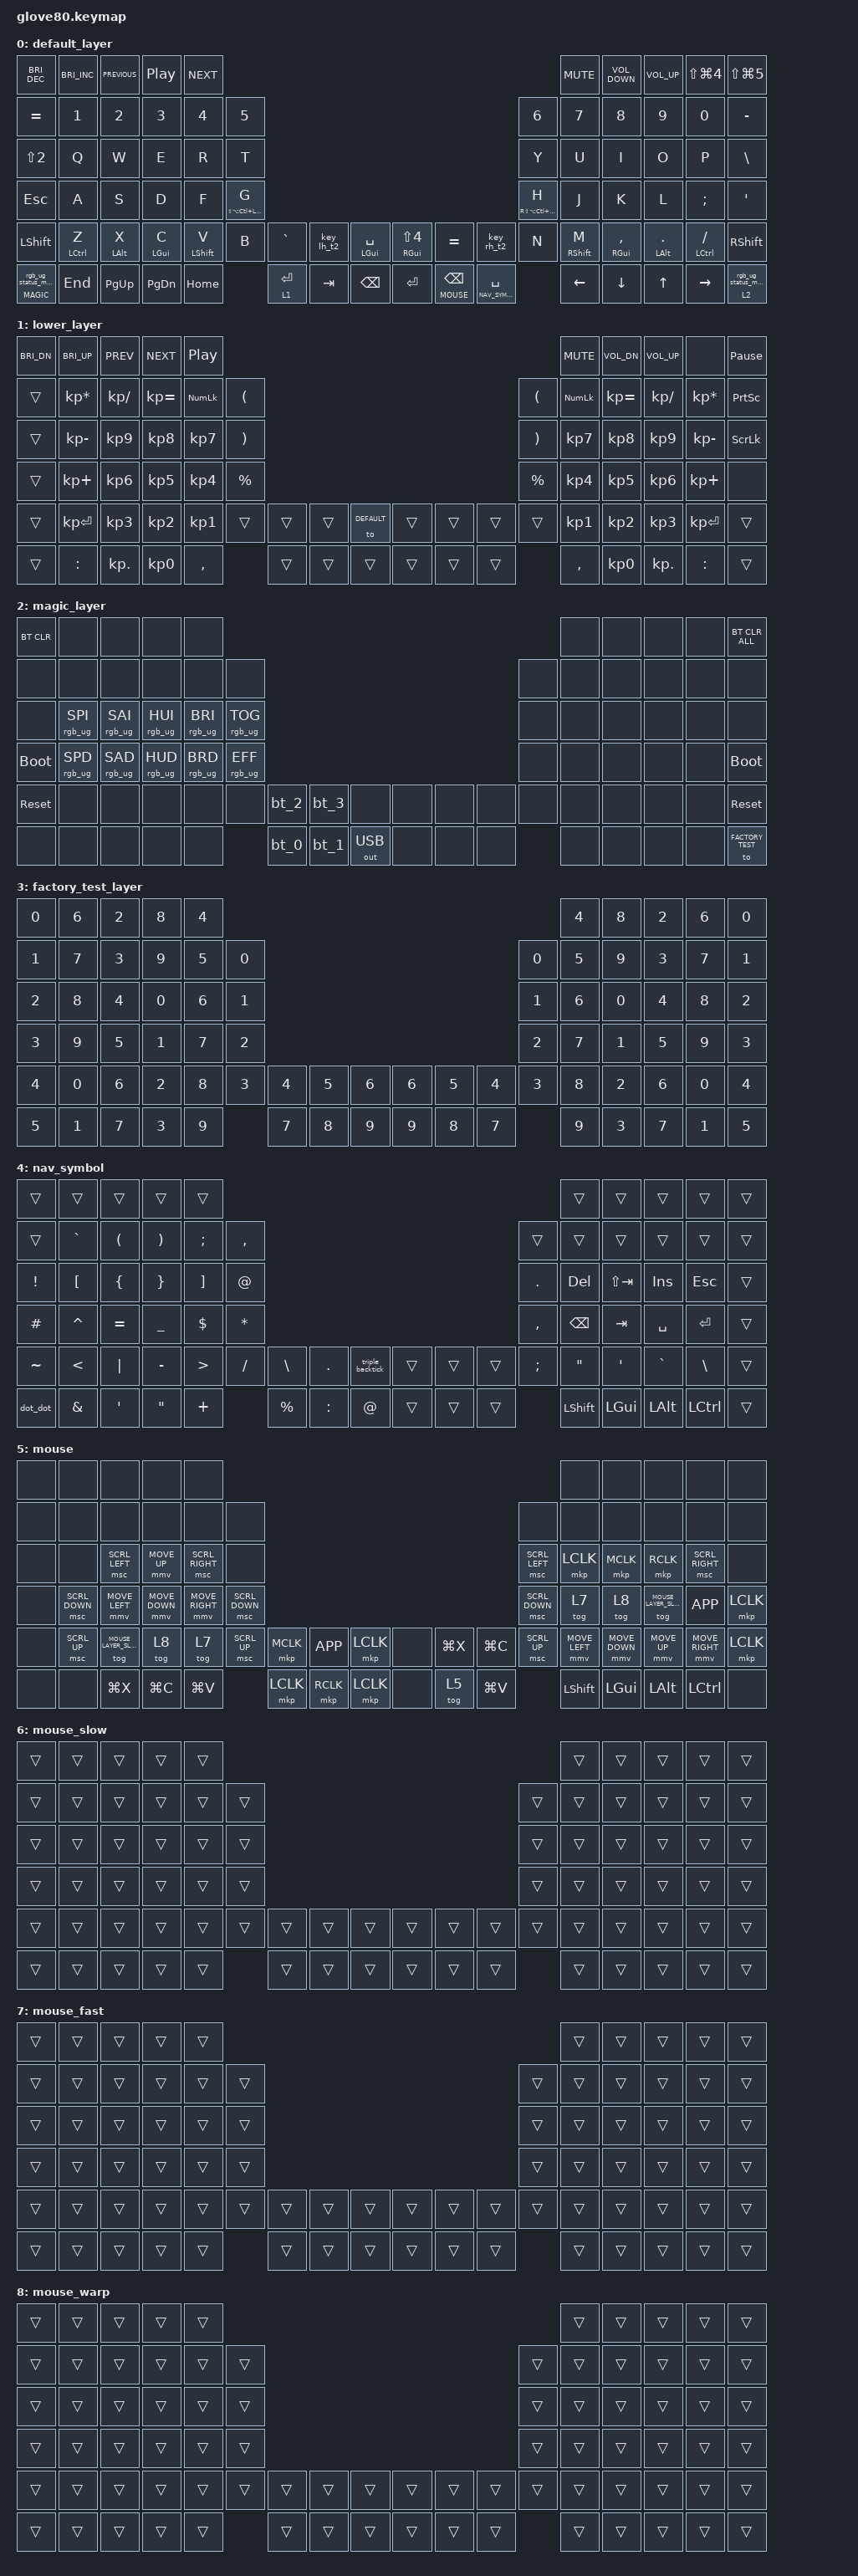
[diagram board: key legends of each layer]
/*
 * Copyright (c) 2020 The ZMK Contributors
 *
 * SPDX-License-Identifier: MIT
 */

#include <input/processors.dtsi>
#include <behaviors.dtsi>
#include <dt-bindings/zmk/bt.h>
#include <dt-bindings/zmk/keys.h>
#include <dt-bindings/zmk/outputs.h>
#include <dt-bindings/zmk/pointing.h>
#include <dt-bindings/zmk/rgb.h>

#define HYPER LC(LS(LG(LALT)))

// layers

#define DEFAULT 0
#define LOWER 1
#define MAGIC 2
#define FACTORY_TEST 3
#define NAV_SYMBOL 4
#define MOUSE 5
#define MOUSE_LAYER_SLOW 6
#define MOUSE_LAYER_FAST 7
#define MOUSE_LAYER_WARP 8

&mmv {
    acceleration-exponent = <1>;
    time-to-max-speed-ms = <300>;
    delay-ms = <0>;
};

&msc {
    acceleration-exponent = <0>;
    time-to-max-speed-ms = <300>;
    delay-ms = <0>;
};

// Mouse movement speed scaling per layer

&mmv_input_listener {
    slow {
        layers = <MOUSE_LAYER_SLOW>;
        input-processors = <&zip_xy_scaler 1 12>;
    };

    fast {
        layers = <MOUSE_LAYER_FAST>;
        input-processors = <&zip_xy_scaler 4 1>;
    };

    warp {
        layers = <MOUSE_LAYER_WARP>;
        input-processors = <&zip_xy_scaler 12 1>;
    };
};

&msc_input_listener {
    slow {
        layers = <MOUSE_LAYER_SLOW>;
        input-processors = <&zip_scroll_scaler 1 9>;
    };

    fast {
        layers = <MOUSE_LAYER_FAST>;
        input-processors = <&zip_scroll_scaler 3 1>;
    };

    warp {
        layers = <MOUSE_LAYER_WARP>;
        input-processors = <&zip_scroll_scaler 9 1>;
    };
};

/ {
    behaviors {
        // For the "layer" key, it'd nice to be able to use it as either a shift or a toggle.
        // Configure it as a tap dance, so the first tap (or hold) is a &mo and the second tap is a &to

        layer_td: tap_dance_0 {
            compatible = "zmk,behavior-tap-dance";
            label = "LAYER_TAP_DANCE";
            #binding-cells = <0>;
            tapping-term-ms = <200>;
            bindings = <&mo LOWER>, <&to LOWER>;
        };

        magic: magic_hold_tap {
            compatible = "zmk,behavior-hold-tap";
            label = "MAGIC_HOLD_TAP";
            #binding-cells = <2>;
            flavor = "tap-preferred";
            tapping-term-ms = <200>;
            bindings = <&mo>, <&rgb_ug_status_macro>;
        };

        hmr: home_row_mods_right {
            compatible = "zmk,behavior-hold-tap";
            label = "HOME_ROW_MODS_RIGHT";
            #binding-cells = <2>;
            bindings = <&kp>, <&kp>;

            tapping-term-ms = <280>;
            quick-tap-ms = <175>;
            require-prior-idle-ms = <150>;
            flavor = "balanced";
            hold-trigger-on-release;
            hold-trigger-key-positions = <0 1 2 3 4 10 11 12 13 14 15 22 23 24 25 26 27 34 35 36 37 38 39 46 47 48 49 50 51 52 53 54 64 65 66 67 68 69 70 71>;
        };

        hml: home_row_mods_left {
            compatible = "zmk,behavior-hold-tap";
            label = "HOME_ROW_MODS_LEFT";
            #binding-cells = <2>;
            bindings = <&kp>, <&kp>;

            tapping-term-ms = <280>;
            quick-tap-ms = <175>;
            require-prior-idle-ms = <150>;
            flavor = "balanced";
            hold-trigger-on-release;
            hold-trigger-key-positions = <5 6 7 8 9 16 17 18 19 20 21 28 29 30 31 32 33 40 41 42 43 44 45 55 56 57 58 59 60 61 62 63 72 73 74 75 76 77 78 79>;
        };

        key_lh_t2: key_lh_t2 {
            compatible = "zmk,behavior-mod-morph";
            label = "KEY_LH_T2";
            bindings = <&kp LS(N3)>, <&kp LG(LS(N4))>;

            #binding-cells = <0>;
            mods = <(MOD_LSFT|MOD_RSFT)>;
        };

        key_rh_t2: key_rh_t2 {
            compatible = "zmk,behavior-mod-morph";
            label = "KEY_RH_T2";
            bindings = <&kp LS(N6)>, <&kp LG(LS(N5))>;

            #binding-cells = <0>;
            mods = <(MOD_LSFT|MOD_RSFT)>;
        };
    };

    combos {
        compatible = "zmk,combos";

        combo_caps_word {
            bindings = <&caps_word>;
            key-positions = <38 41>;
            timeout-ms = <40>;
            require-prior-idle-ms = <150>;
        };

        combo_caps_lock {
            bindings = <&kp CAPSLOCK>;
            key-positions = <50 59>;
            timeout-ms = <40>;
            require-prior-idle-ms = <150>;
        };

        // Row above home combos — left hand (Q=23, W=24, E=25, R=26)

        lh_combo_cut {
            bindings = <&kp LG(X)>;
            key-positions = <23 24>;
            timeout-ms = <40>;
            require-prior-idle-ms = <150>;
        };

        lh_combo_copy {
            bindings = <&kp LG(C)>;
            key-positions = <24 25>;
            timeout-ms = <40>;
            require-prior-idle-ms = <150>;
        };

        lh_combo_paste {
            bindings = <&kp LG(V)>;
            key-positions = <25 26>;
            timeout-ms = <40>;
            require-prior-idle-ms = <150>;
        };

        lh_combo_undo {
            bindings = <&kp LG(Z)>;
            key-positions = <24 26>;
            timeout-ms = <40>;
            require-prior-idle-ms = <150>;
        };

        lh_combo_redo {
            bindings = <&kp LS(LG(Z))>;
            key-positions = <23 25>;
            timeout-ms = <40>;
            require-prior-idle-ms = <150>;
        };

        lh_combo_select_all {
            bindings = <&kp LG(A)>;
            key-positions = <23 26>;
            timeout-ms = <40>;
            require-prior-idle-ms = <150>;
        };

        // Row above home combos — right hand mirrored (U=29, I=30, O=31, P=32)

        rh_combo_cut {
            bindings = <&kp LG(X)>;
            key-positions = <31 32>;
            timeout-ms = <40>;
            require-prior-idle-ms = <150>;
        };

        rh_combo_copy {
            bindings = <&kp LG(C)>;
            key-positions = <30 31>;
            timeout-ms = <40>;
            require-prior-idle-ms = <150>;
        };

        rh_combo_paste {
            bindings = <&kp LG(V)>;
            key-positions = <29 30>;
            timeout-ms = <40>;
            require-prior-idle-ms = <150>;
        };

        rh_combo_undo {
            bindings = <&kp LG(Z)>;
            key-positions = <29 31>;
            timeout-ms = <40>;
            require-prior-idle-ms = <150>;
        };

        rh_combo_redo {
            bindings = <&kp LS(LG(Z))>;
            key-positions = <30 32>;
            timeout-ms = <40>;
            require-prior-idle-ms = <150>;
        };

        rh_combo_select_all {
            bindings = <&kp LG(A)>;
            key-positions = <29 32>;
            timeout-ms = <40>;
            require-prior-idle-ms = <150>;
        };
    };

    macros {
        rgb_ug_status_macro: rgb_ug_status_macro_0 {
            label = "RGB_UG_STATUS";
            compatible = "zmk,behavior-macro";
            #binding-cells = <0>;
            bindings = <&rgb_ug RGB_STATUS>;
        };

        bt_0: bt_profile_macro_0 {
            label = "BT_0";
            compatible = "zmk,behavior-macro";
            #binding-cells = <0>;
            bindings = <&out OUT_BLE &bt BT_SEL 0>;
        };

        bt_1: bt_profile_macro_1 {
            label = "BT_1";
            compatible = "zmk,behavior-macro";
            #binding-cells = <0>;
            bindings = <&out OUT_BLE &bt BT_SEL 1>;
        };

        bt_2: bt_profile_macro_2 {
            label = "BT_2";
            compatible = "zmk,behavior-macro";
            #binding-cells = <0>;
            bindings = <&out OUT_BLE &bt BT_SEL 2>;
        };

        bt_3: bt_profile_macro_3 {
            label = "BT_3";
            compatible = "zmk,behavior-macro";
            #binding-cells = <0>;
            bindings = <&out OUT_BLE &bt BT_SEL 3>;
        };

        dot_dot: dot_dot {
            compatible = "zmk,behavior-macro";
            label = "dot_dot";
            #binding-cells = <0>;
            bindings = <&kp DOT &kp DOT>;
        };

        triple_backtick: triple_backtick {
            compatible = "zmk,behavior-macro";
            label = "triple_backtick";
            #binding-cells = <0>;
            bindings = <&kp GRAVE &kp GRAVE &kp GRAVE>;
        };
    };

    keymap {
        compatible = "zmk,keymap";

        default_layer {
            // ---------------------------------------------------------------------------------------------------------------------------------
            // |  F1   |  F2 |  F3 |  F4  |  F5  |                                                               |  F6   |  F7   |  F8  |   F9  |  F10 |
            // |  =    |  1  |  2  |  3   |  4   |  5   |                                                 |  6   |   7   |   8   |  9   |   0   |   -  |
            // |  TAB  |  Q  |  W  |  E   |  R   |  T   |                                                 |  Y   |   U   |   I   |  O   |   P   |   \  |
            // |  ESC  |  A  |  S  |  D   |  F   |  G   |                                                 |  H   |   J   |   K   |  L   |   ;   |   '  |
            // |   `   |  Z  |  X  |  C   |  V   |  B   | LSHFT | LCTRL | LOWER | | LGUI  | RCTRL | RSHFT |  N   |   M   |   ,   |  .   |   /   | PGUP |
            // | MAGIC | HOME| END | LEFT | RIGHT|      | BSPC  | DEL   | LALT  | | RALT  | RET   | SPACE |      |  UP   | DOWN  |  [   |   ]   | PGDN |

            bindings = <
&kp C_BRIGHTNESS_DEC  &kp C_BRIGHTNESS_INC  &kp C_PREVIOUS   &kp C_PLAY_PAUSE  &kp C_NEXT                                                                                                                                                                                    &kp C_MUTE          &kp C_VOLUME_DOWN     &kp C_VOLUME_UP    &kp LS(LG(NUMBER_4))    &kp LS(LG(NUMBER_5))
&kp EQUAL             &kp NUMBER_1          &kp NUMBER_2     &kp NUMBER_3      &kp NUMBER_4       &kp NUMBER_5                                                                                                                                  &kp NUMBER_6                 &kp NUMBER_7        &kp NUMBER_8          &kp NUMBER_9       &kp NUMBER_0            &kp MINUS
&kp LS(N2)            &kp Q                 &kp W            &kp E             &kp R              &kp T                                                                                                                                         &kp Y                        &kp U               &kp I                 &kp O              &kp P                   &kp BSLH
&kp ESC               &kp A                 &kp S            &kp D             &kp F              &hml LS(LA(LC(LEFT_GUI))) G                                                                                                                   &hmr RS(LA(LC(LEFT_GUI))) H  &kp J               &kp K                 &kp L              &kp SEMICOLON           &kp SQT
&kp LEFT_SHIFT        &hml LEFT_CONTROL Z   &hml LEFT_ALT X  &hml LEFT_GUI C   &hml LEFT_SHIFT V  &kp B                        &kp GRAVE     &key_lh_t2  &hml LEFT_GUI SPACE  &hmr RIGHT_GUI LS(N4)  &kp EQUAL            &key_rh_t2            &kp N                        &hmr RIGHT_SHIFT M  &hmr RIGHT_GUI COMMA  &hmr LEFT_ALT DOT  &hmr LEFT_CONTROL FSLH  &kp RIGHT_SHIFT
&magic MAGIC 0        &kp END               &kp PAGE_UP      &kp PAGE_DOWN     &kp HOME                                        &lt 1 RETURN  &kp TAB     &kp BACKSPACE        &kp RETURN             &lt MOUSE BACKSPACE  &lt NAV_SYMBOL SPACE                               &kp LEFT            &kp DOWN              &kp UP             &kp RIGHT               &magic 2 0
            >;
        };

        lower_layer {
            bindings = <
&kp C_BRI_DN  &kp C_BRI_UP     &kp C_PREV    &kp C_NEXT    &kp C_PP                                                                                           &kp C_MUTE  &kp C_VOL_DN  &kp C_VOL_UP   &none            &kp PAUSE_BREAK
&trans        &kp KP_MULTIPLY  &kp KP_SLASH  &kp KP_EQUAL  &kp KP_NUM  &kp LEFT_PARENTHESIS                                                        &kp LPAR   &kp KP_NUM  &kp KP_EQUAL  &kp KP_DIVIDE  &kp KP_MULTIPLY  &kp PSCRN
&trans        &kp KP_MINUS     &kp KP_N9     &kp KP_N8     &kp KP_N7   &kp RIGHT_PARENTHESIS                                                       &kp RPAR   &kp KP_N7   &kp KP_N8     &kp KP_N9      &kp KP_MINUS     &kp SLCK
&trans        &kp KP_PLUS      &kp KP_N6     &kp KP_N5     &kp KP_N4   &kp PERCENT                                                                 &kp PRCNT  &kp KP_N4   &kp KP_N5     &kp KP_N6      &kp KP_PLUS      &none
&trans        &kp KP_ENTER     &kp KP_N3     &kp KP_N2     &kp KP_N1   &trans                 &trans  &trans  &to DEFAULT  &trans  &trans  &trans  &trans     &kp KP_N1   &kp KP_N2     &kp KP_N3      &kp KP_ENTER     &trans
&trans        &kp COLON        &kp KP_DOT    &kp KP_N0     &kp COMMA                          &trans  &trans  &trans       &trans  &trans  &trans             &kp COMMA   &kp KP_N0     &kp KP_DOT     &kp COLON        &trans
            >;
        };

        magic_layer {
            bindings = <
&bt BT_CLR   &none            &none            &none            &none                                                                                     &none  &none  &none  &none  &bt BT_CLR_ALL
&none        &none            &none            &none            &none            &none                                                             &none  &none  &none  &none  &none  &none
&none        &rgb_ug RGB_SPI  &rgb_ug RGB_SAI  &rgb_ug RGB_HUI  &rgb_ug RGB_BRI  &rgb_ug RGB_TOG                                                   &none  &none  &none  &none  &none  &none
&bootloader  &rgb_ug RGB_SPD  &rgb_ug RGB_SAD  &rgb_ug RGB_HUD  &rgb_ug RGB_BRD  &rgb_ug RGB_EFF                                                   &none  &none  &none  &none  &none  &bootloader
&sys_reset   &none            &none            &none            &none            &none            &bt_2  &bt_3  &none         &none  &none  &none  &none  &none  &none  &none  &none  &sys_reset
&none        &none            &none            &none            &none                             &bt_0  &bt_1  &out OUT_USB  &none  &none  &none         &none  &none  &none  &none  &to FACTORY_TEST
            >;
        };

        factory_test_layer {
            bindings = <
&kp N0  &kp N6  &kp N2  &kp N8  &kp N4                                                                  &kp N4  &kp N8  &kp N2  &kp N6  &kp N0
&kp N1  &kp N7  &kp N3  &kp N9  &kp N5  &kp N0                                                  &kp N0  &kp N5  &kp N9  &kp N3  &kp N7  &kp N1
&kp N2  &kp N8  &kp N4  &kp N0  &kp N6  &kp N1                                                  &kp N1  &kp N6  &kp N0  &kp N4  &kp N8  &kp N2
&kp N3  &kp N9  &kp N5  &kp N1  &kp N7  &kp N2                                                  &kp N2  &kp N7  &kp N1  &kp N5  &kp N9  &kp N3
&kp N4  &kp N0  &kp N6  &kp N2  &kp N8  &kp N3  &kp N4  &kp N5  &kp N6  &kp N6  &kp N5  &kp N4  &kp N3  &kp N8  &kp N2  &kp N6  &kp N0  &kp N4
&kp N5  &kp N1  &kp N7  &kp N3  &kp N9          &kp N7  &kp N8  &kp N9  &kp N9  &kp N8  &kp N7          &kp N9  &kp N3  &kp N7  &kp N1  &kp N5
            >;
        };

        nav_symbol {
            bindings = <
&trans           &trans            &trans                &trans                 &trans                                                                                                       &trans             &trans            &trans        &trans            &trans
&trans           &kp GRAVE         &kp LEFT_PARENTHESIS  &kp RIGHT_PARENTHESIS  &kp SEMI           &kp COMMA                                                                      &trans     &trans             &trans            &trans        &trans            &trans
&kp EXCLAMATION  &kp LEFT_BRACKET  &kp LEFT_BRACE        &kp RIGHT_BRACE        &kp RIGHT_BRACKET  &kp AT                                                                         &kp DOT    &kp DELETE         &kp LS(TAB)       &kp INSERT    &kp ESCAPE        &trans
&kp POUND        &kp CARET         &kp EQUAL             &kp UNDERSCORE         &kp DOLLAR         &kp STAR                                                                       &kp COMMA  &kp BACKSPACE      &kp TAB           &kp SPACE     &kp ENTER         &trans
&kp TILDE        &kp LESS_THAN     &kp PIPE              &kp MINUS              &kp GREATER_THAN   &kp SLASH  &kp BACKSLASH  &kp DOT    &triple_backtick  &trans  &trans  &trans  &kp SEMI   &kp DOUBLE_QUOTES  &kp SINGLE_QUOTE  &kp GRAVE     &kp BACKSLASH     &trans
&dot_dot         &kp AMPS          &kp SINGLE_QUOTE      &kp DOUBLE_QUOTES      &kp PLUS                      &kp PERCENT    &kp COLON  &kp AT            &trans  &trans  &trans             &kp LEFT_SHIFT     &kp LEFT_GUI      &kp LEFT_ALT  &kp LEFT_CONTROL  &trans
            >;
        };

        mouse {
            bindings = <
&none  &none           &none                  &none           &none                                                                                                          &none           &none           &none                  &none             &none
&none  &none           &none                  &none           &none            &none                                                                         &none           &none           &none           &none                  &none             &none
&none  &none           &msc SCRL_LEFT         &mmv MOVE_UP    &msc SCRL_RIGHT  &none                                                                         &msc SCRL_LEFT  &mkp LCLK       &mkp MCLK       &mkp RCLK              &msc SCRL_RIGHT   &none
&none  &msc SCRL_DOWN  &mmv MOVE_LEFT         &mmv MOVE_DOWN  &mmv MOVE_RIGHT  &msc SCRL_DOWN                                                                &msc SCRL_DOWN  &tog 7          &tog 8          &tog MOUSE_LAYER_SLOW  &kp K_APP         &mkp LCLK
&none  &msc SCRL_UP    &tog MOUSE_LAYER_SLOW  &tog 8          &tog 7           &msc SCRL_UP    &mkp MCLK  &kp K_APP  &mkp LCLK  &none  &kp LG(X)  &kp LG(C)  &msc SCRL_UP    &mmv MOVE_LEFT  &mmv MOVE_DOWN  &mmv MOVE_UP           &mmv MOVE_RIGHT   &mkp LCLK
&none  &none           &kp LG(X)              &kp LG(C)       &kp LG(V)                        &mkp LCLK  &mkp RCLK  &mkp LCLK  &none  &tog 5     &kp LG(V)                  &kp LEFT_SHIFT  &kp LEFT_GUI    &kp LEFT_ALT           &kp LEFT_CONTROL  &none
            >;
        };

        mouse_slow {
            bindings = <
&trans  &trans  &trans  &trans  &trans                                                                  &trans  &trans  &trans  &trans  &trans
&trans  &trans  &trans  &trans  &trans  &trans                                                  &trans  &trans  &trans  &trans  &trans  &trans
&trans  &trans  &trans  &trans  &trans  &trans                                                  &trans  &trans  &trans  &trans  &trans  &trans
&trans  &trans  &trans  &trans  &trans  &trans                                                  &trans  &trans  &trans  &trans  &trans  &trans
&trans  &trans  &trans  &trans  &trans  &trans  &trans  &trans  &trans  &trans  &trans  &trans  &trans  &trans  &trans  &trans  &trans  &trans
&trans  &trans  &trans  &trans  &trans          &trans  &trans  &trans  &trans  &trans  &trans          &trans  &trans  &trans  &trans  &trans
            >;
        };

        mouse_fast {
            bindings = <
&trans  &trans  &trans  &trans  &trans                                                                  &trans  &trans  &trans  &trans  &trans
&trans  &trans  &trans  &trans  &trans  &trans                                                  &trans  &trans  &trans  &trans  &trans  &trans
&trans  &trans  &trans  &trans  &trans  &trans                                                  &trans  &trans  &trans  &trans  &trans  &trans
&trans  &trans  &trans  &trans  &trans  &trans                                                  &trans  &trans  &trans  &trans  &trans  &trans
&trans  &trans  &trans  &trans  &trans  &trans  &trans  &trans  &trans  &trans  &trans  &trans  &trans  &trans  &trans  &trans  &trans  &trans
&trans  &trans  &trans  &trans  &trans          &trans  &trans  &trans  &trans  &trans  &trans          &trans  &trans  &trans  &trans  &trans
            >;
        };

        mouse_warp {
            bindings = <
&trans  &trans  &trans  &trans  &trans                                                                  &trans  &trans  &trans  &trans  &trans
&trans  &trans  &trans  &trans  &trans  &trans                                                  &trans  &trans  &trans  &trans  &trans  &trans
&trans  &trans  &trans  &trans  &trans  &trans                                                  &trans  &trans  &trans  &trans  &trans  &trans
&trans  &trans  &trans  &trans  &trans  &trans                                                  &trans  &trans  &trans  &trans  &trans  &trans
&trans  &trans  &trans  &trans  &trans  &trans  &trans  &trans  &trans  &trans  &trans  &trans  &trans  &trans  &trans  &trans  &trans  &trans
&trans  &trans  &trans  &trans  &trans          &trans  &trans  &trans  &trans  &trans  &trans          &trans  &trans  &trans  &trans  &trans
            >;
        };
    };
};
